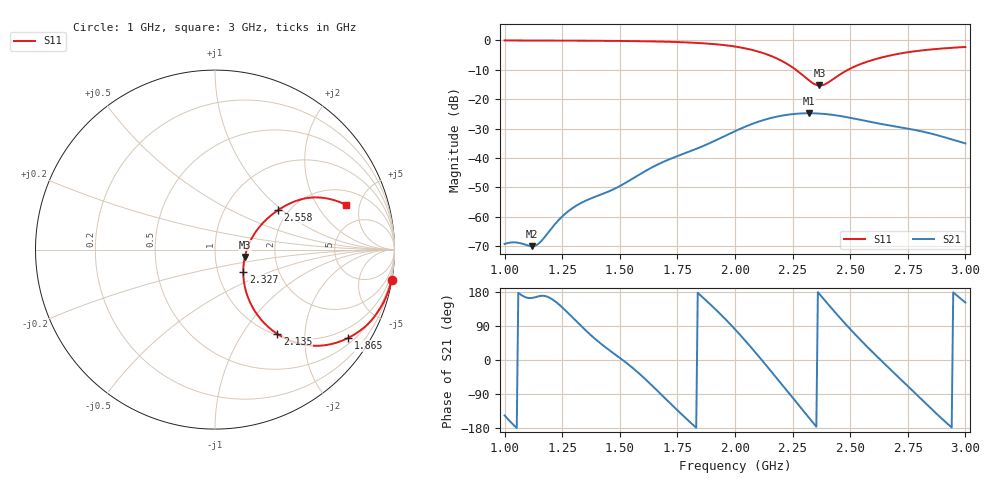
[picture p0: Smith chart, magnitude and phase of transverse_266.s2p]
! TOUCHSTONE file generated by CST MICROWAVE STUDIO
! Date and time: Tue Mar 11 13:58:18 2025
! Project name: transverse.cst
! Parameters = {Fracture=5; B=12.5; D=160; F=15; Feed=2.85625; L=100; M=10; R=0.384908; S=1; Theta=270; length=57.125; wave=114.25}
! Header version: 2024
! Port assignment regex: !\s*Touchstone port\s*([0-9]+)\s*=\s*(CST MWS port|CST DES external port|CST DES block port)\s*(.+)\s* \(\"(.*)\"\)(\s*mode\s*([0-9]+))?.*
! Touchstone port assignment:
! Touchstone port 1 = CST MWS port 1 ("")
! Touchstone port 2 = CST MWS port 2 ("")
# GHz S MA R 50
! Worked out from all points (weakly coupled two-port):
!   304 points, 1 GHz to 3 GHz, reference 50 ohm
!   highest |S21| = -24.77 dB at 2.32 GHz (marker M1); lowest = -70.0 dB at 1.119 GHz (marker M2)
!   lowest |S11| = -15.3 dB at 2.366 GHz (marker M3), VSWR 1.41, Z = 69.6 - j5.88 ohm
!   |S11| at or under -10 dB: 2.264 GHz to 2.49 GHz (225.8 MHz wide, 9.5 % of centre)
!   S12 and S22 are empty: the file has one direction only
!   S11 on the Smith chart (normalised r, x): 1 GHz: 0, -12; 1.865 GHz: 0.67, -3.20; 2.135 GHz: 1.02, -1.45; 2.327 GHz: 1.32, -0.34; 2.558 GHz: 1.76, +0.93; 3 GHz: 3.04, +3.72
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1  0.9978 -9.8  0.0003461 -146.3  0 0.0  0 0.0
1.0462  0.9971 -10.4  0.0003685 -175.7  0 0.0  0 0.0
1.11881  0.996 -11.4  0.0003178 163.7  0 0.0  0 0.0
1.15182  0.9955 -11.9  0.0003624 168.8  0 0.0  0 0.0
1.26403  0.9926 -13.8  0.001138 130.8  0 0.0  0 0.0
1.33663  0.9894 -15.2  0.001763 87.2  0 0.0  0 0.0
1.48185  0.9806 -18.5  0.003067 13.8  0 0.0  0 0.0
1.66667  0.9574 -24.1  0.007845 -83.3  0 0.0  0 0.0
1.86469  0.8912 -33.4  0.0162 162.7  0 0.0  0 0.0
2.0033  0.7831 -43.2  0.02906 78.9  0 0.0  0 0.0
2.13531  0.5843 -53.5  0.04562 -14.0  0 0.0  0 0.0
2.22772  0.3953 -57.0  0.0545 -82.9  0 0.0  0 0.0
2.32013  0.2103 -41.4  0.05777 -151.9  0 0.0  0 0.0
2.32673  0.2008 -38.4  0.05776 -156.8  0 0.0  0 0.0
2.33993  0.1853 -31.3  0.05764 -166.5  0 0.0  0 0.0
2.36634  0.1712 -13.8  0.05703 174.2  0 0.0  0 0.0
2.39934  0.1874 7.0  0.05562 150.5  0 0.0  0 0.0
2.45875  0.2679 26.1  0.0517 109.1  0 0.0  0 0.0
2.55776  0.4134 32.0  0.04353 44.7  0 0.0  0 0.0
2.66997  0.5502 30.4  0.03584 -22.3  0 0.0  0 0.0
2.82838  0.6875 24.5  0.0274 -115.2  0 0.0  0 0.0
3  0.7729 18.6  0.01775 151.7  0 0.0  0 0.0
